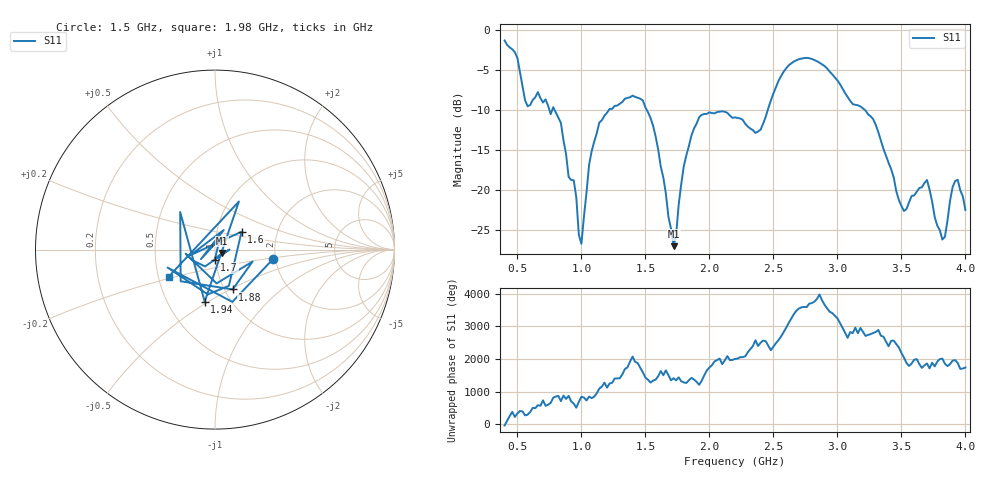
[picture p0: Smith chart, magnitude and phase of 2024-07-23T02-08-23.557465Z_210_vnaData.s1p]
!Created with skrf (http://scikit-rf.org).
# Hz S RI R 50.0
!freq ReS11 ImS11
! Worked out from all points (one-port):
!   181 points, 400 MHz to 4 GHz, reference 50 ohm
!   lowest |S11| = -27.1 dB at 1.72 GHz (marker M1), VSWR 1.09, Z = 54.1 - j2.1 ohm
!   |S11| at or under -10 dB: 791.1 MHz to 1.214 GHz (422.7 MHz wide, 42.2 % of centre); 1.511 GHz to 2.456 GHz (944.3 MHz wide, 47.6 % of centre); 3.216 GHz to end of sweep (the widest 3 of 4)
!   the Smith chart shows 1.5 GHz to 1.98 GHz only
!   S11 on the Smith chart (normalised r, x): 1.5 GHz: 1.94, -0.23; 1.6 GHz: 1.32, +0.27; 1.7 GHz: 0.99, -0.11; 1.88 GHz: 1.09, -0.51; 1.94 GHz: 0.76, -0.48; 1.98 GHz: 0.57, -0.19
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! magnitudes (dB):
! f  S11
! 400 MHz  -1.3
! 580 MHz  -9.5
! 720 MHz  -8.6
! 860 MHz  -13.8
! 940 MHz  -18.8
! 1 GHz  -26.8
! 1.06 GHz  -16.9
! 1.14 GHz  -11.6
! 1.3 GHz  -9.2
! 1.5 GHz  -9.7
! 1.6 GHz  -15.0
! 1.7 GHz  -24.9
! 1.72 GHz  -27.1
! 1.76 GHz  -21.9
! 1.88 GHz  -12.3
! 1.94 GHz  -10.6
! 1.98 GHz  -10.5
! 2.2 GHz  -10.9
! 2.4 GHz  -12.4
! 2.66 GHz  -3.9
! 3.1 GHz  -8.8
! 3.28 GHz  -11.1
! 3.5 GHz  -22.0
! 3.56 GHz  -21.6
! 3.7 GHz  -18.8
! 3.82 GHz  -26.2
! 3.92 GHz  -18.9
! 4 GHz  -22.5
